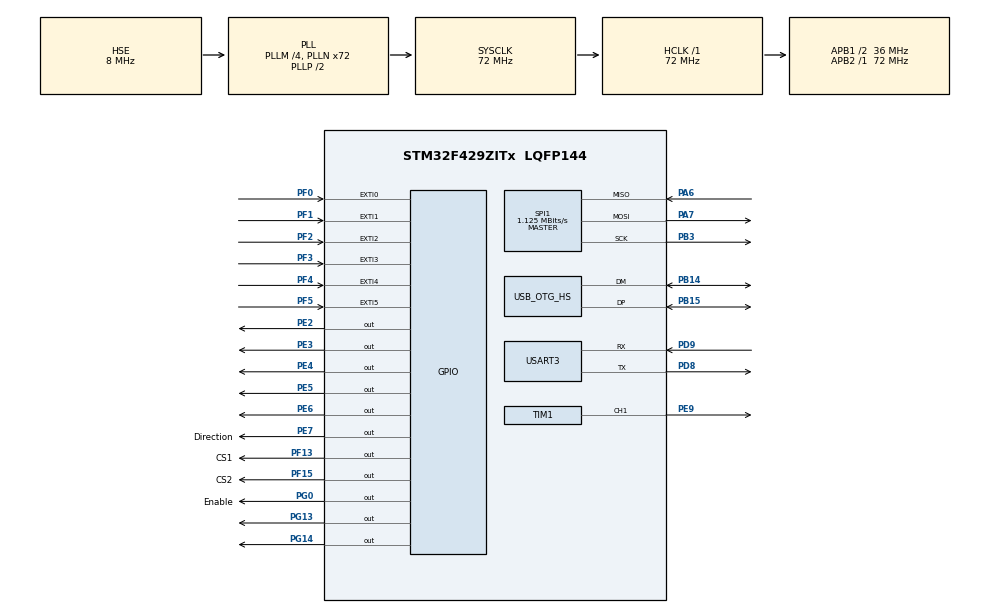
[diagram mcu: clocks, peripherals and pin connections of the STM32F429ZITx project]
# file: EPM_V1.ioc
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Dma.Request0=USART3_RX
Dma.USART3_RX.0.Direction=DMA_PERIPH_TO_MEMORY
Dma.USART3_RX.0.FIFOMode=DMA_FIFOMODE_DISABLE
Dma.USART3_RX.0.Instance=DMA1_Stream1
Dma.USART3_RX.0.MemDataAlignment=DMA_MDATAALIGN_BYTE
Dma.USART3_RX.0.MemInc=DMA_MINC_ENABLE
Dma.USART3_RX.0.Mode=DMA_CIRCULAR
Dma.USART3_RX.0.PeriphDataAlignment=DMA_PDATAALIGN_BYTE
Dma.USART3_RX.0.PeriphInc=DMA_PINC_DISABLE
Dma.USART3_RX.0.Priority=DMA_PRIORITY_LOW
FREERTOS.Tasks01=defaultTask,24,128,StartDefaultTask,Default,NULL,Dynamic,NULL,NULL;TempControl,24,128,StartTempControl,Default,NULL,Dynamic,NULL,NULL;TempRead,24,128,StartTempRead,Default,NULL,Dynamic,NULL,NULL;Reset,32,128,StartReset,Default,NULL,Dynamic,NULL,NULL;USB,24,128,StartUSB,Default,NULL,Dynamic,NULL,NULL
Mcu.Family=STM32F4
Mcu.Name=STM32F429ZITx
Mcu.Package=LQFP144
NVIC.DMA1_Stream1_IRQn=true\:5\:0\:false\:false\:true\:true\:false\:true\:true
NVIC.OTG_HS_IRQn=true\:5\:0\:false\:false\:true\:true\:false\:true\:true
NVIC.PriorityGroup=NVIC_PRIORITYGROUP_4
NVIC.TIM1_BRK_TIM9_IRQn=true\:5\:0\:false\:false\:true\:true\:true\:true\:true
NVIC.TIM1_CC_IRQn=true\:5\:0\:false\:false\:true\:true\:true\:true\:true
NVIC.TIM1_TRG_COM_TIM11_IRQn=true\:5\:0\:false\:false\:true\:true\:true\:true\:true
NVIC.TIM1_UP_TIM10_IRQn=true\:5\:0\:false\:false\:true\:true\:true\:true\:true
NVIC.TIM2_IRQn=true\:15\:0\:false\:false\:true\:false\:false\:true\:true
NVIC.TimeBase=TIM2_IRQn
NVIC.TimeBaseIP=TIM2
PA6.Mode=Full_Duplex_Master
PA6.Signal=SPI1_MISO
PA7.Mode=Full_Duplex_Master
PA7.Signal=SPI1_MOSI
PB14.Mode=Device_Only_FS
PB14.Signal=USB_OTG_HS_DM
PB15.Mode=Device_Only_FS
PB15.Signal=USB_OTG_HS_DP
PB3.Mode=Full_Duplex_Master
PB3.Signal=SPI1_SCK
PD8.Mode=Asynchronous
PD8.Signal=USART3_TX
PD9.Mode=Asynchronous
PD9.Signal=USART3_RX
PE2.Signal=GPIO_Output
PE3.Signal=GPIO_Output
PE4.Signal=GPIO_Output
PE5.Signal=GPIO_Output
PE6.Signal=GPIO_Output
PE7.GPIO_Label=Direction
PE7.Signal=GPIO_Output
PE9.Signal=S_TIM1_CH1
PF0.Signal=GPXTI0
PF1.Signal=GPXTI1
PF13.GPIO_Label=CS1
PF13.Signal=GPIO_Output
PF15.GPIO_Label=CS2
PF15.Signal=GPIO_Output
PF2.Signal=GPXTI2
PF3.Signal=GPXTI3
PF4.Signal=GPXTI4
PF5.Signal=GPXTI5
PG0.GPIO_Label=Enable
PG0.Signal=GPIO_Output
PG13.Signal=GPIO_Output
PG14.Signal=GPIO_Output
PH0/OSC_IN.Mode=HSE-External-Oscillator
PH0/OSC_IN.Signal=RCC_OSC_IN
PH1/OSC_OUT.Mode=HSE-External-Oscillator
PH1/OSC_OUT.Signal=RCC_OSC_OUT
ProjectManager.HeapSize=0x200
ProjectManager.StackSize=0x400
ProjectManager.TargetToolchain=MDK-ARM V5.32
RCC.48MHZClocksFreq_Value=48000000
RCC.AHBFreq_Value=72000000
RCC.APB1CLKDivider=RCC_HCLK_DIV2
RCC.APB1Freq_Value=36000000
RCC.APB1TimFreq_Value=72000000
RCC.APB2Freq_Value=72000000
RCC.APB2TimFreq_Value=72000000
RCC.CortexFreq_Value=72000000
RCC.HCLKFreq_Value=72000000
RCC.HSE_VALUE=8000000
RCC.HSI_VALUE=16000000
RCC.LSE_VALUE=32768
RCC.PLLM=4
RCC.PLLN=72
RCC.PLLQ=3
RCC.SYSCLKFreq_VALUE=72000000
RCC.SYSCLKSource=RCC_SYSCLKSOURCE_PLLCLK
RCC.VCOOutputFreq_Value=144000000
SH.S_TIM1_CH1.0=TIM1_CH1,PWM Generation1 CH1
SPI1.BaudRatePrescaler=SPI_BAUDRATEPRESCALER_64
SPI1.CalculateBaudRate=1.125 MBits/s
SPI1.DataSize=SPI_DATASIZE_8BIT
SPI1.Direction=SPI_DIRECTION_2LINES
SPI1.Mode=SPI_MODE_MASTER
SPI1.VirtualType=VM_MASTER
TIM1.Channel-PWM\ Generation1\ CH1=TIM_CHANNEL_1
TIM5.Prescaler=65535
USART3.VirtualMode=VM_ASYNC
USB_DEVICE.CLASS_NAME_HS=CDC
USB_DEVICE.VirtualMode-CDC_HS=Cdc
USB_DEVICE.VirtualModeHS=Cdc_HS
USB_OTG_HS.VirtualMode-Device_Only_FS=Device_Only_FS
VP_FREERTOS_VS_CMSIS_V2.Mode=CMSIS_V2
VP_SYS_VS_tim2.Mode=TIM2
VP_TIM1_VS_ClockSourceINT.Mode=Internal
VP_TIM5_VS_ClockSourceINT.Mode=Internal
VP_USB_DEVICE_VS_USB_DEVICE_CDC_HS.Mode=CDC_HS
board=STM32F429I-DISC1

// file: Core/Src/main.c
/* USER CODE BEGIN Header */
/**
  ******************************************************************************
  * @file           : main.c
  * @brief          : Main program body
  ******************************************************************************
  * @attention
  *
  * Copyright (c) 2024 STMicroelectronics.
  * All rights reserved.
  *
  * This software is licensed under terms that can be found in the LICENSE file
  * in the root directory of this software component.
  * If no LICENSE file comes with this software, it is provided AS-IS.
  *
  ******************************************************************************
  */
/* USER CODE END Header */
#include "main.h"
#include "cmsis_os.h"
#include "usb_device.h"

/* USER CODE BEGIN Includes */
#include "STM_TB6600.h"
#include "usbd_cdc_if.h"
#include "string.h"
/* USER CODE END Includes */

/* USER CODE BEGIN PD */
#define MAX6675_CS_PIN_1 GPIO_PIN_13
#define MAX6675_CS_PORT GPIOF
#define MAX6675_CS_PIN_2 GPIO_PIN_15

#define Temp_Addr  		0x080E0002
#define MM_Addr  			0x080E0004
#define Speed_Addr  	0x080E0006
//#define STEPS_PER_REV 6400        // Steps per revolution (including microstepping)
//#define LEAD_SCREW_PITCH 2        // Lead screw pitch in mm
//#define MICROSTEPS 43           // Microstepping factor
//#define TIMER_CLOCK_FREQ 72000000 // Timer clock frequency (72 MHz)
/* USER CODE END PD */

/* USER CODE BEGIN PM */
int tf;
 int total_step;
 int target_step;
 volatile uint32_t ticks;
 int time;
 int ii=0;
 volatile uint32_t pCount=0;
struct Distance
{
	float A;
	float B;
};
/* USER CODE END PM */

SPI_HandleTypeDef hspi1;

TIM_HandleTypeDef htim1;
TIM_HandleTypeDef htim5;

UART_HandleTypeDef huart3;
DMA_HandleTypeDef hdma_usart3_rx;

/* Definitions for defaultTask */
osThreadId_t defaultTaskHandle;
const osThreadAttr_t defaultTask_attributes = {
  .name = "defaultTask",
  .stack_size = 128 * 4,
  .priority = (osPriority_t) osPriorityNormal,
};
/* Definitions for TempControl */
osThreadId_t TempControlHandle;
const osThreadAttr_t TempControl_attributes = {
  .name = "TempControl",
  .stack_size = 128 * 4,
  .priority = (osPriority_t) osPriorityNormal,
};
/* Definitions for TempRead */
osThreadId_t TempReadHandle;
const osThreadAttr_t TempRead_attributes = {
  .name = "TempRead",
  .stack_size = 128 * 4,
  .priority = (osPriority_t) osPriorityNormal,
};
/* Definitions for Reset */
osThreadId_t ResetHandle;
const osThreadAttr_t Reset_attributes = {
  .name = "Reset",
  .stack_size = 128 * 4,
  .priority = (osPriority_t) osPriorityAboveNormal,
};
/* Definitions for USB */
osThreadId_t USBHandle;
const osThreadAttr_t USB_attributes = {
  .name = "USB",
  .stack_size = 128 * 4,
  .priority = (osPriority_t) osPriorityNormal,
};
/* USER CODE BEGIN PV */

tb6600_t motor;
struct Distance Dist;
// float variable

// uint8_t variable

uint8_t Rx_Buffer[9];

uint16_t Temp=0,Temp_0,Temp_1,Temp_Set=30,Temp_Get;
uint8_t Stop_Process=0,Start_Process=0,Manual=0;
uint8_t buff[20];
uint8_t Code[6],check;
uint8_t xTemp,xMM,xSpeed;
//

// uint16_t variable

uint16_t VP_Address;
uint16_t Volt,Curr,Time,Mm,mSpeed;

//

// uint32_t variable

uint32_t mCount,cCount,lCount,Calculate;
int inc1,inc2,inc3;
volatile int Page,Func,Data;
//
//
const char* Return_Buf[10]={"*PRS:STR#","*PRS:CMP#","*PRS:STP#","*MAN:HTR#","*MAN:MOT#","*SET:TMP#","*SET:MM#","*SET:SPD#","*SET:SAV#","*ERR:001#"};

/* USER CODE END PV */

void SystemClock_Config(void);
static void MX_GPIO_Init(void);
static void MX_DMA_Init(void);
static void MX_SPI1_Init(void);
static void MX_TIM1_Init(void);
static void MX_TIM5_Init(void);
static void MX_USART3_UART_Init(void);
void StartDefaultTask(void *argument);
void StartTempControl(void *argument);
void StartTempRead(void *argument);
void StartReset(void *argument);
void StartUSB(void *argument);
volatile int step_count=0;
void UpdateStepperSpeed(int speed_mm_sec,int distance);

/* USER CODE BEGIN PFP */
uint8_t ReadFlashByte(uint32_t address);
/* USER CODE END PFP */

int main(void)
{

  /* MCU Configuration--------------------------------------------------------*/

  /* Reset of all peripherals, Initializes the Flash interface and the Systick. */
  HAL_Init();

  /* Configure the system clock */
  SystemClock_Config();

  /* Initialize all configured peripherals */
  MX_GPIO_Init();
  MX_DMA_Init();
  MX_SPI1_Init();
  MX_TIM1_Init();
  MX_TIM5_Init();
  MX_USART3_UART_Init();
  /* USER CODE BEGIN 2 */
	MX_USB_DEVICE_Init();
	HAL_GPIO_WritePin(GPIOE,GPIO_PIN_3,1);
	HAL_Delay(2000);
	HAL_GPIO_WritePin(GPIOE,GPIO_PIN_3,0);
	Temp_Get=ReadFlashByte(Temp_Addr);
	Mm=ReadFlashByte(MM_Addr);
	mSpeed=ReadFlashByte(Speed_Addr);
//Temp_Set=30;
//Mm=50;
//mSpeed=200;
	//

	//
	tb6600_init_tim(&motor,GPIOG,GPIO_PIN_0,GPIOE,GPIO_PIN_7,htim1,TIM_CHANNEL_1);
	tb6600_Set(&motor,CW,Fast,6400,72);
	//

  /* USER CODE END 2 */

  /* Init scheduler */
  osKernelInitialize();

  /* Create the thread(s) */
  /* creation of defaultTask */
  defaultTaskHandle = osThreadNew(StartDefaultTask, NULL, &defaultTask_attributes);

  /* creation of TempControl */
  TempControlHandle = osThreadNew(StartTempControl, NULL, &TempControl_attributes);

  /* creation of TempRead */
  TempReadHandle = osThreadNew(StartTempRead, NULL, &TempRead_attributes);

  /* creation of Reset */
  ResetHandle = osThreadNew(StartReset, NULL, &Reset_attributes);

  /* creation of USB */
  USBHandle = osThreadNew(StartUSB, NULL, &USB_attributes);

  /* Start scheduler */
  osKernelStart();

  /* We should never get here as control is now taken by the scheduler */

  /* Infinite loop */
  while (1)
  {

  }
}

void SystemClock_Config(void)
{
  RCC_OscInitTypeDef RCC_OscInitStruct = {0};
  RCC_ClkInitTypeDef RCC_ClkInitStruct = {0};

  /** Configure the main internal regulator output voltage
  */
  __HAL_RCC_PWR_CLK_ENABLE();
  __HAL_PWR_VOLTAGESCALING_CONFIG(PWR_REGULATOR_VOLTAGE_SCALE3);

  /** Initializes the RCC Oscillators according to the specified parameters
  * in the RCC_OscInitTypeDef structure.
  */
  RCC_OscInitStruct.OscillatorType = RCC_OSCILLATORTYPE_HSE;
  RCC_OscInitStruct.HSEState = RCC_HSE_ON;
  RCC_OscInitStruct.PLL.PLLState = RCC_PLL_ON;
  RCC_OscInitStruct.PLL.PLLSource = RCC_PLLSOURCE_HSE;
  RCC_OscInitStruct.PLL.PLLM = 4;
  RCC_OscInitStruct.PLL.PLLN = 72;
  RCC_OscInitStruct.PLL.PLLP = RCC_PLLP_DIV2;
  RCC_OscInitStruct.PLL.PLLQ = 3;
  if (HAL_RCC_OscConfig(&RCC_OscInitStruct) != HAL_OK)
  {
    Error_Handler();
  }

  /** Initializes the CPU, AHB and APB buses clocks
  */
  RCC_ClkInitStruct.ClockType = RCC_CLOCKTYPE_HCLK|RCC_CLOCKTYPE_SYSCLK
                              |RCC_CLOCKTYPE_PCLK1|RCC_CLOCKTYPE_PCLK2;
  RCC_ClkInitStruct.SYSCLKSource = RCC_SYSCLKSOURCE_PLLCLK;
  RCC_ClkInitStruct.AHBCLKDivider = RCC_SYSCLK_DIV1;
  RCC_ClkInitStruct.APB1CLKDivider = RCC_HCLK_DIV2;
  RCC_ClkInitStruct.APB2CLKDivider = RCC_HCLK_DIV1;

  if (HAL_RCC_ClockConfig(&RCC_ClkInitStruct, FLASH_LATENCY_2) != HAL_OK)
  {
    Error_Handler();
  }
}

static void MX_SPI1_Init(void)
{

  /* SPI1 parameter configuration*/
  hspi1.Instance = SPI1;
  hspi1.Init.Mode = SPI_MODE_MASTER;
  hspi1.Init.Direction = SPI_DIRECTION_2LINES;
  hspi1.Init.DataSize = SPI_DATASIZE_8BIT;
  hspi1.Init.CLKPolarity = SPI_POLARITY_LOW;
  hspi1.Init.CLKPhase = SPI_PHASE_1EDGE;
  hspi1.Init.NSS = SPI_NSS_SOFT;
  hspi1.Init.BaudRatePrescaler = SPI_BAUDRATEPRESCALER_64;
  hspi1.Init.FirstBit = SPI_FIRSTBIT_MSB;
  hspi1.Init.TIMode = SPI_TIMODE_DISABLE;
  hspi1.Init.CRCCalculation = SPI_CRCCALCULATION_DISABLE;
  hspi1.Init.CRCPolynomial = 10;
  if (HAL_SPI_Init(&hspi1) != HAL_OK)
  {
    Error_Handler();
  }

}

static void MX_TIM1_Init(void)
{

  TIM_ClockConfigTypeDef sClockSourceConfig = {0};
  TIM_MasterConfigTypeDef sMasterConfig = {0};
  TIM_OC_InitTypeDef sConfigOC = {0};
  TIM_BreakDeadTimeConfigTypeDef sBreakDeadTimeConfig = {0};

  htim1.Instance = TIM1;
  htim1.Init.Prescaler = 0;
  htim1.Init.CounterMode = TIM_COUNTERMODE_UP;
  htim1.Init.Period = 65535;
  htim1.Init.ClockDivision = TIM_CLOCKDIVISION_DIV1;
  htim1.Init.RepetitionCounter = 0;
  htim1.Init.AutoReloadPreload = TIM_AUTORELOAD_PRELOAD_DISABLE;
  if (HAL_TIM_Base_Init(&htim1) != HAL_OK)
  {
    Error_Handler();
  }
  sClockSourceConfig.ClockSource = TIM_CLOCKSOURCE_INTERNAL;
  if (HAL_TIM_ConfigClockSource(&htim1, &sClockSourceConfig) != HAL_OK)
  {
    Error_Handler();
  }
  if (HAL_TIM_PWM_Init(&htim1) != HAL_OK)
  {
    Error_Handler();
  }
  sMasterConfig.MasterOutputTrigger = TIM_TRGO_RESET;
  sMasterConfig.MasterSlaveMode = TIM_MASTERSLAVEMODE_DISABLE;
  if (HAL_TIMEx_MasterConfigSynchronization(&htim1, &sMasterConfig) != HAL_OK)
  {
    Error_Handler();
  }
  sConfigOC.OCMode = TIM_OCMODE_PWM1;
  sConfigOC.Pulse = 0;
  sConfigOC.OCPolarity = TIM_OCPOLARITY_HIGH;
  sConfigOC.OCNPolarity = TIM_OCNPOLARITY_HIGH;
  sConfigOC.OCFastMode = TIM_OCFAST_DISABLE;
  sConfigOC.OCIdleState = TIM_OCIDLESTATE_RESET;
  sConfigOC.OCNIdleState = TIM_OCNIDLESTATE_RESET;
  if (HAL_TIM_PWM_ConfigChannel(&htim1, &sConfigOC, TIM_CHANNEL_1) != HAL_OK)
  {
    Error_Handler();
  }
  sBreakDeadTimeConfig.OffStateRunMode = TIM_OSSR_DISABLE;
  sBreakDeadTimeConfig.OffStateIDLEMode = TIM_OSSI_DISABLE;
  sBreakDeadTimeConfig.LockLevel = TIM_LOCKLEVEL_OFF;
  sBreakDeadTimeConfig.DeadTime = 0;
  sBreakDeadTimeConfig.BreakState = TIM_BREAK_DISABLE;
  sBreakDeadTimeConfig.BreakPolarity = TIM_BREAKPOLARITY_HIGH;
  sBreakDeadTimeConfig.AutomaticOutput = TIM_AUTOMATICOUTPUT_DISABLE;
  if (HAL_TIMEx_ConfigBreakDeadTime(&htim1, &sBreakDeadTimeConfig) != HAL_OK)
  {
    Error_Handler();
  }
  HAL_TIM_MspPostInit(&htim1);

}

static void MX_TIM5_Init(void)
{

  TIM_ClockConfigTypeDef sClockSourceConfig = {0};
  TIM_MasterConfigTypeDef sMasterConfig = {0};

  htim5.Instance = TIM5;
  htim5.Init.Prescaler = 65535;
  htim5.Init.CounterMode = TIM_COUNTERMODE_UP;
  htim5.Init.Period = 4294967295;
  htim5.Init.ClockDivision = TIM_CLOCKDIVISION_DIV1;
  htim5.Init.AutoReloadPreload = TIM_AUTORELOAD_PRELOAD_DISABLE;
  if (HAL_TIM_Base_Init(&htim5) != HAL_OK)
  {
    Error_Handler();
  }
  sClockSourceConfig.ClockSource = TIM_CLOCKSOURCE_INTERNAL;
  if (HAL_TIM_ConfigClockSource(&htim5, &sClockSourceConfig) != HAL_OK)
  {
    Error_Handler();
  }
  sMasterConfig.MasterOutputTrigger = TIM_TRGO_RESET;
  sMasterConfig.MasterSlaveMode = TIM_MASTERSLAVEMODE_DISABLE;
  if (HAL_TIMEx_MasterConfigSynchronization(&htim5, &sMasterConfig) != HAL_OK)
  {
    Error_Handler();
  }

}

static void MX_USART3_UART_Init(void)
{

  huart3.Instance = USART3;
  huart3.Init.BaudRate = 115200;
  huart3.Init.WordLength = UART_WORDLENGTH_8B;
  huart3.Init.StopBits = UART_STOPBITS_1;
  huart3.Init.Parity = UART_PARITY_NONE;
  huart3.Init.Mode = UART_MODE_TX_RX;
  huart3.Init.HwFlowCtl = UART_HWCONTROL_NONE;
  huart3.Init.OverSampling = UART_OVERSAMPLING_16;
  if (HAL_UART_Init(&huart3) != HAL_OK)
  {
    Error_Handler();
  }

}

static void MX_DMA_Init(void)
{

  /* DMA controller clock enable */
  __HAL_RCC_DMA1_CLK_ENABLE();

  /* DMA interrupt init */
  /* DMA1_Stream1_IRQn interrupt configuration */
  HAL_NVIC_SetPriority(DMA1_Stream1_IRQn, 5, 0);
  HAL_NVIC_EnableIRQ(DMA1_Stream1_IRQn);

}

static void MX_GPIO_Init(void)
{
  GPIO_InitTypeDef GPIO_InitStruct = {0};

  /* GPIO Ports Clock Enable */
  __HAL_RCC_GPIOE_CLK_ENABLE();
  __HAL_RCC_GPIOF_CLK_ENABLE();
  __HAL_RCC_GPIOH_CLK_ENABLE();
  __HAL_RCC_GPIOA_CLK_ENABLE();
  __HAL_RCC_GPIOG_CLK_ENABLE();
  __HAL_RCC_GPIOB_CLK_ENABLE();
  __HAL_RCC_GPIOD_CLK_ENABLE();

  /*Configure GPIO pin Output Level */
  HAL_GPIO_WritePin(GPIOE, GPIO_PIN_2|GPIO_PIN_3|GPIO_PIN_4|GPIO_PIN_5
                          |GPIO_PIN_6|Direction_Pin, GPIO_PIN_RESET);

  /*Configure GPIO pin Output Level */
  HAL_GPIO_WritePin(GPIOF, CS1_Pin|CS2_Pin, GPIO_PIN_RESET);

  /*Configure GPIO pin Output Level */
  HAL_GPIO_WritePin(GPIOG, Enable_Pin|GPIO_PIN_13|GPIO_PIN_14, GPIO_PIN_RESET);

  /*Configure GPIO pins : PE2 PE3 PE4 PE5
                           PE6 Direction_Pin */
  GPIO_InitStruct.Pin = GPIO_PIN_2|GPIO_PIN_3|GPIO_PIN_4|GPIO_PIN_5
                          |GPIO_PIN_6|Direction_Pin;
  GPIO_InitStruct.Mode = GPIO_MODE_OUTPUT_PP;
  GPIO_InitStruct.Pull = GPIO_NOPULL;
  GPIO_InitStruct.Speed = GPIO_SPEED_FREQ_LOW;
  HAL_GPIO_Init(GPIOE, &GPIO_InitStruct);

  /*Configure GPIO pins : PF0 PF1 PF2 PF3
                           PF4 PF5 */
  GPIO_InitStruct.Pin = GPIO_PIN_0|GPIO_PIN_1|GPIO_PIN_2|GPIO_PIN_3
                          |GPIO_PIN_4|GPIO_PIN_5;
  GPIO_InitStruct.Mode = GPIO_MODE_IT_RISING;
  GPIO_InitStruct.Pull = GPIO_NOPULL;
  HAL_GPIO_Init(GPIOF, &GPIO_InitStruct);

  /*Configure GPIO pins : CS1_Pin CS2_Pin */
  GPIO_InitStruct.Pin = CS1_Pin|CS2_Pin;
  GPIO_InitStruct.Mode = GPIO_MODE_OUTPUT_PP;
  GPIO_InitStruct.Pull = GPIO_NOPULL;
  GPIO_InitStruct.Speed = GPIO_SPEED_FREQ_LOW;
  HAL_GPIO_Init(GPIOF, &GPIO_InitStruct);

  /*Configure GPIO pins : Enable_Pin PG13 PG14 */
  GPIO_InitStruct.Pin = Enable_Pin|GPIO_PIN_13|GPIO_PIN_14;
  GPIO_InitStruct.Mode = GPIO_MODE_OUTPUT_PP;
  GPIO_InitStruct.Pull = GPIO_NOPULL;
  GPIO_InitStruct.Speed = GPIO_SPEED_FREQ_LOW;
  HAL_GPIO_Init(GPIOG, &GPIO_InitStruct);

}

/* USER CODE BEGIN 4 */

//

uint16_t MAX6675_ReadTemp(void)
{
  uint8_t data[2];
  uint16_t value;

  // Pull the CS pin low to enable the MAX6675
  HAL_GPIO_WritePin(MAX6675_CS_PORT, MAX6675_CS_PIN_1, GPIO_PIN_RESET);

  // Receive 2 bytes of data
  HAL_SPI_Receive(&hspi1, data, 2, HAL_MAX_DELAY);

  // Pull the CS pin high to disable the MAX6675
  HAL_GPIO_WritePin(MAX6675_CS_PORT, MAX6675_CS_PIN_1, GPIO_PIN_SET);

  // Combine the two bytes into a single 16-bit value
  value = (data[0] << 8) | data[1];

  // The temperature data is in the top 12 bits of the 16-bit value
  value >>= 3;
	value*=0.25;
	return value;
  // Return the temperature value

}

//

//

uint16_t MAX6675_Read_Temp(void)
{
  uint8_t data[2];
  uint16_t value;

  // Pull the CS pin low to enable the MAX6675
  HAL_GPIO_WritePin(MAX6675_CS_PORT, MAX6675_CS_PIN_2, GPIO_PIN_RESET);

  // Receive 2 bytes of data
  HAL_SPI_Receive(&hspi1, data, 2, HAL_MAX_DELAY);

  // Pull the CS pin high to disable the MAX6675
  HAL_GPIO_WritePin(MAX6675_CS_PORT, MAX6675_CS_PIN_2, GPIO_PIN_SET);

  // Combine the two bytes into a single 16-bit value
  value = (data[0] << 8) | data[1];

  // The temperature data is in the top 12 bits of the 16-bit value
  value >>= 3;
	value*=0.25;
	return value;
  // Return the temperature value

}

//

//

void Reset_Timer (TIM_HandleTypeDef *htim)
{
		__HAL_TIM_SET_COUNTER(htim,0);
		HAL_TIM_GenerateEvent(htim, TIM_EVENTSOURCE_UPDATE);
		HAL_TIM_Base_Stop_IT(htim);
}

//

//
uint8_t ReadFlashByte(uint32_t address)
{
    return *(uint8_t*)address;
}
//

//
void StoreFlashByte(uint8_t A,uint8_t B,uint8_t C)
{
	HAL_FLASH_Unlock();
  // Erase the specified Flash sector
	FLASH_EraseInitTypeDef EraseInitStruct;
    uint32_t SectorError = 0;

    EraseInitStruct.TypeErase     = FLASH_TYPEERASE_SECTORS;
    EraseInitStruct.VoltageRange  = FLASH_VOLTAGE_RANGE_3;
    EraseInitStruct.Sector        = FLASH_SECTOR_11;
    EraseInitStruct.NbSectors     = 1;
	HAL_FLASHEx_Erase(&EraseInitStruct,(uint32_t *)SectorError);
	HAL_FLASH_Program(FLASH_TYPEPROGRAM_BYTE,0x080E0000,0);
	HAL_FLASH_Program(FLASH_TYPEPROGRAM_BYTE,0x080E0002,A);
	HAL_FLASH_Program(FLASH_TYPEPROGRAM_BYTE,0x080E0004,B);
	HAL_FLASH_Program(FLASH_TYPEPROGRAM_BYTE,0x080E0006,C);
	HAL_FLASH_Lock();

}

//

//

void Usb_Receive_Check()
{
	sscanf((char*)buff,"%*c%d:%d:%d%*c",&Page,&Func,&Data);
	/*
	if(bath Placed!=0)
	{
		CDC_Transmit_HS((uint8_t *)Return_Buf[9],9);
	}
	else

	*/
	switch(Page)
	{
		case 1: // PROCESS
			switch(Func)
			{
				case 0:
					{
						Stop_Process=1;
						Start_Process=0;
						CDC_Transmit_HS((uint8_t *)Return_Buf[2],9);
						osThreadFlagsSet(ResetHandle, 0x02);
					}
					break;
				case 1:
						Start_Process=Data;
						osThreadFlagsSet(defaultTaskHandle, 0x01);
					break;
			}
			break;
		case 2: // MANUAL
			{
				osThreadFlagsSet(defaultTaskHandle, 0x01);
			}
			break;
		case 3: // SETTING
			switch(Func)
			{
				case 1:
						CDC_Transmit_HS((uint8_t *)Return_Buf[5],9);
						xTemp=Data;
					break;
				case 2:
						CDC_Transmit_HS((uint8_t *)Return_Buf[6],9);
						xMM=Data;
					break;
				case 3:
						CDC_Transmit_HS((uint8_t *)Return_Buf[7],9);
						xSpeed=Data;
					break;
				case 4:
						//give notificattion to save
						{
							CDC_Transmit_HS((uint8_t *)Return_Buf[8],9);
							osThreadFlagsSet(defaultTaskHandle, 0x01);
						}
					break;
			}
			break;
	}

}
//
void Home()
{
	if(Dist.B!=0)
	{
		if(Dist.B<0)
		{
			tb6600_ChangeDirection(&motor,CCW);
			tb6600_Enable(&motor);
			HAL_TIM_Base_Start_IT(&htim1);
			tb6600_Movemm_tim(&motor,Dist.B);
			mCount=GETVALUE(&motor);
		}
		else if(Dist.B>0)
		{
			tb6600_ChangeDirection(&motor,CW);
			tb6600_Enable(&motor);
			HAL_TIM_Base_Start_IT(&htim1);
			tb6600_Movemm_tim(&motor,Dist.B);
			mCount=GETVALUE(&motor);
		}
	}
}
//

/* USER CODE END 4 */

void StartDefaultTask(void *argument)
{
  /* init code for USB_DEVICE */
  MX_USB_DEVICE_Init();
  /* USER CODE BEGIN 5 */
  /* Infinite loop */
  for(;;)
  {
    osThreadFlagsWait(0x01, osFlagsWaitAny, osWaitForever); // waiting for uart notification

		switch(Page)
		{
			case 1:  // Process
				if(Start_Process==1)
				{
					while(Temp<Temp_Set)//dont start process until it has reached the required temperature set by the user
					{
						HAL_GPIO_WritePin(GPIOE,GPIO_PIN_5,1);//heater on
						HAL_GPIO_WritePin(GPIOG,GPIO_PIN_13,1);//led on
					}
				// Start Stirrer
					CDC_Transmit_HS((uint8_t *)Return_Buf[0],9);
				// Start to&fro motion
					Temp_Set=Temp_Get;
					tb6600_Enable(&motor);
					TIM1->CNT=0;
					Calculate=1;
					HAL_TIM_Base_Start_IT(&htim1);
					tb6600_ChangeDirection(&motor,CCW);

					//tb6600_Movemm_tim(&motor,Mm); //changed here
					//tb6600_calculate_motor_parm(&motor, mSpeed, Mm);
					//tb6600_ChangeSpeed(&motor, mSpeed);
				//	UpdateStepperSpeed(mSpeed,Mm);
					 tb6600_Movemm_tim_1(&motor,mSpeed,Mm);

					mCount=GETVALUE(&motor);
					//lCount=0;
					pCount=0;
				// wait for command from pc
					osThreadFlagsWait(0x01, osFlagsWaitAny, osWaitForever);
					CDC_Transmit_HS((uint8_t *)Return_Buf[1],9);
					cCount=Dist.A;
				// Stop to&fro motion
					HAL_TIM_Base_Stop_IT(&htim1);
					tb6600_Stop_tim(&motor);
					tb6600_Disable(&motor);
				// Change Page
					Temp_Set=30;
					Start_Process=0;
					Dist.A=0;
					inc1=0;
					mCount=0;
				//	lCount=0;
				pCount=0;
				}
				break;
			case 2:  // Manual
				switch(Func)
				{
					case 1:
						CDC_Transmit_HS((uint8_t *)Return_Buf[3],9);
						switch(Data)
						{
							case 0:
								// Heater Off
								HAL_GPIO_WritePin(GPIOG,GPIO_PIN_13,0);
								HAL_GPIO_WritePin(GPIOE,GPIO_PIN_5,0);

								break;
							case 1:
								//Heater on
								HAL_GPIO_WritePin(GPIOG,GPIO_PIN_13,1);
								HAL_GPIO_WritePin(GPIOE,GPIO_PIN_5,1);

								break;
						}
						break;
					case 2:
						CDC_Transmit_HS((uint8_t *)Return_Buf[4],9);
						switch(Data)
						{
							case 0:
								// Actuate forward
								tb6600_Enable(&motor);
								tb6600_ChangeDirection(&motor,CW);
								tb6600_Movemm_tim(&motor,10);
								//tb6600_ChangeSpeed(&motor, mSpeed);//changed here
							  //tb6600_calculate_motor_parm(&motor, mSpeed, Mm);
							  //UpdateStepperSpeed(mSpeed,Mm);
								HAL_TIM_Base_Start_IT(&htim1);
								mCount=GETVALUE(&motor);
								break;
							case 1:
								// Actuate Reverse
								tb6600_Enable(&motor);
								tb6600_ChangeDirection(&motor,CCW);
								tb6600_Movemm_tim(&motor,10);
								//tb6600_ChangeSpeed(&motor, mSpeed);
							  //tb6600_calculate_motor_parm(&motor, mSpeed, Mm);
							  //UpdateStepperSpeed(mSpeed);
							  //tb6600_Disable(&motor);
								HAL_TIM_Base_Start_IT(&htim1);
								mCount=GETVALUE(&motor);
								break;
						}
						break;
				}
				break;
			case 3:  // Setting
				StoreFlashByte(xTemp,xMM,xSpeed);
				Temp_Set=xTemp;
				Mm=xMM;
				mSpeed=xSpeed;
				break;
		}

  }
  /* USER CODE END 5 */
}

void StartTempControl(void *argument)
{
  /* USER CODE BEGIN StartTempControl */
  /* Infinite loop */
  for(;;)
  {
		// if(bath_placed==0)
   if((Temp<Temp_Set) && (Data == 1))
	 {
		 HAL_GPIO_WritePin(GPIOE,GPIO_PIN_5,1);
		 HAL_GPIO_WritePin(GPIOG,GPIO_PIN_13,1);
		 tf = 1;
	 }
	 else
	 {
		 HAL_GPIO_WritePin(GPIOE,GPIO_PIN_5,0);
		 HAL_GPIO_WritePin(GPIOG,GPIO_PIN_13,0);
		 tf = 0;
	 }
  }
  /* USER CODE END StartTempControl */
}

void StartTempRead(void *argument)
{
  /* USER CODE BEGIN StartTempRead */
  /* Infinite loop */
  for(;;)
  {
    Temp_0=MAX6675_ReadTemp();
    osDelay(500);
		Temp_1=MAX6675_Read_Temp();
    osDelay(500);
		Temp=Temp_0;
		//Temp=20;
		if(Start_Process==1 || Start_Process==0)
		{
			char BUF;
			sprintf(&BUF,"*1:2:%d#",Temp);
			CDC_Transmit_HS((uint8_t*)&BUF, strlen(&BUF));
		}
  }
  /* USER CODE END StartTempRead */
}

void StartReset(void *argument)
{
  /* USER CODE BEGIN StartReset */
  /* Infinite loop */
  for(;;)
  {
    osThreadFlagsWait(0x02, osFlagsWaitAny, osWaitForever);
    if(Stop_Process == 1)
		{
			Reset_Timer (&htim1);
			HAL_TIM_Base_Stop_IT(&htim1);
			tb6600_Disable(&motor);
			vTaskSuspend(defaultTaskHandle);
			vTaskDelete(defaultTaskHandle);
			/* Definitions for defaultTask */
			osThreadId_t defaultTaskHandle;
			const osThreadAttr_t defaultTask_attributes = {
				.name = "defaultTask",
				.stack_size = 128 * 4,
				.priority = (osPriority_t) osPriorityNormal,
			};
			defaultTaskHandle = osThreadNew(StartDefaultTask, NULL, &defaultTask_attributes);
			Stop_Process = 0;

		}
  }
  /* USER CODE END StartReset */
}

void StartUSB(void *argument)
{
  /* USER CODE BEGIN StartUSB */
  /* Infinite loop */
  for(;;)
  {
		if(check==1)
		{
			Usb_Receive_Check();
			check=0;
		}
		if(Calculate==1)
		{
			if(Start_Process==1)
			{
				Dist.A=inc1/800;
			}
			else if(Manual==1)
			{

			}
			else
			{

			}
		}
  }
  /* USER CODE END StartUSB */
}

//void UpdateStepperSpeed(int speed_mm_sec,int distance)
//{
//	ii++;
//    __HAL_TIM_SET_AUTORELOAD(&htim1,0);
//    const int STEPS_PER_MM = (STEPS_PER_REV * MICROSTEPS) / LEAD_SCREW_PITCH;
//    int steps_per_sec = STEPS_PER_MM * speed_mm_sec;  // For 1mm/sec, this will be STEPS_PER_MM
//    uint32_t timer_period = (TIMER_CLOCK_FREQ / steps_per_sec) - 1;
//	 total_step = ((STEPS_PER_REV)/LEAD_SCREW_PITCH)*distance;
//	 target_step = total_step;
//	 time = distance/speed_mm_sec;
//	 uint32_t current_tick = HAL_GetTick();
//    if (timer_period > 0xFFFF) {
//        timer_period = 0xFFFF;  // Limit the period to 16-bit max value
//    }

//    __HAL_TIM_SET_AUTORELOAD(&htim1, timer_period);
//    __HAL_TIM_SET_COMPARE(&htim1, TIM_CHANNEL_1, timer_period / 2);

////    __HAL_TIM_SET_AUTORELOAD(&htim5, timer_period);
////    __HAL_TIM_SET_COMPARE(&htim5, TIM_CHANNEL_1, timer_period / 2); // 50% duty cycle
////
//		HAL_TIM_PWM_Start(&htim1,TIM_CHANNEL_1);
//
//}

void HAL_TIM_PeriodElapsedCallback(TIM_HandleTypeDef *htim)
{
  if (htim->Instance == TIM2) {
    HAL_IncTick();
  }
  /* USER CODE BEGIN Callback 1 */
	if (htim->Instance == TIM1)
	{
		if(HAL_GPIO_ReadPin(motor.direction_gpio,motor.direction_pin) == 1)
			{
				inc1++;
			}
			else if(HAL_GPIO_ReadPin(motor.direction_gpio,motor.direction_pin) == 0 && Dist.A!=0)
			{
				inc1--;
			}

		if(Start_Process==1)//ccw
		 {
			pCount++;
			if(pCount==mCount)
			{
				// change direction motor
				tb6600_ToggleDirection(&motor);
				pCount=0;
			}
		 }
		else
		{
			mCount--;
			if(mCount<=0)
			{
				// change direction motor
				tb6600_Stop_tim(&motor);
				tb6600_Disable(&motor);
				HAL_TIM_Base_Stop_IT(&htim1);
				Manual=0;
			}
		}
	}
  /* USER CODE END Callback 1 */
}

//void HAL_TIM_PeriodElapsedCallback(TIM_HandleTypeDef *htim)
//{
  //if (htim->Instance == TIM2) {
   // HAL_IncTick();
  //}
  /* USER CODE BEGIN Callback 1 */
	//if (htim->Instance == TIM1)
	//{
	//	if(HAL_GPIO_ReadPin(motor.direction_gpio,motor.direction_pin) == 1)
	//		{
		//		inc1++;
		//	}
		//	else if(HAL_GPIO_ReadPin(motor.direction_gpio,motor.direction_pin) == 0 && Dist.A!=0)
		//	{
		//		inc1--;
		//	}

	//	if(Start_Process==1)
		// {
		//	lCount++;
		//	if(lCount==mCount)
		//	{
				// change direction motor
			//	tb6600_ToggleDirection(&motor);
			//	lCount=0;
			//}
		 //}
		//else
		//{
		//	mCount--;
//			step_count=step_count+1;
//			if(step_count>=target_step)
//				{
//					step_count=0;
//					tb6600_Disable(&motor);
//
//					HAL_TIM_PWM_Stop(&htim1,TIM_CHANNEL_1);
//			}
		//	if(mCount<=0)
		//	{

				// change direction motor
			//	tb6600_Stop_tim(&motor);
			//	tb6600_Disable(&motor);
			//	HAL_TIM_Base_Stop_IT(&htim1);
			//	Manual=0;
			//}
	//	}
	//}
  /* USER CODE END Callback 1 */
//}

void Error_Handler(void)
{
  __disable_irq();
  while (1)
  {
  }
}
